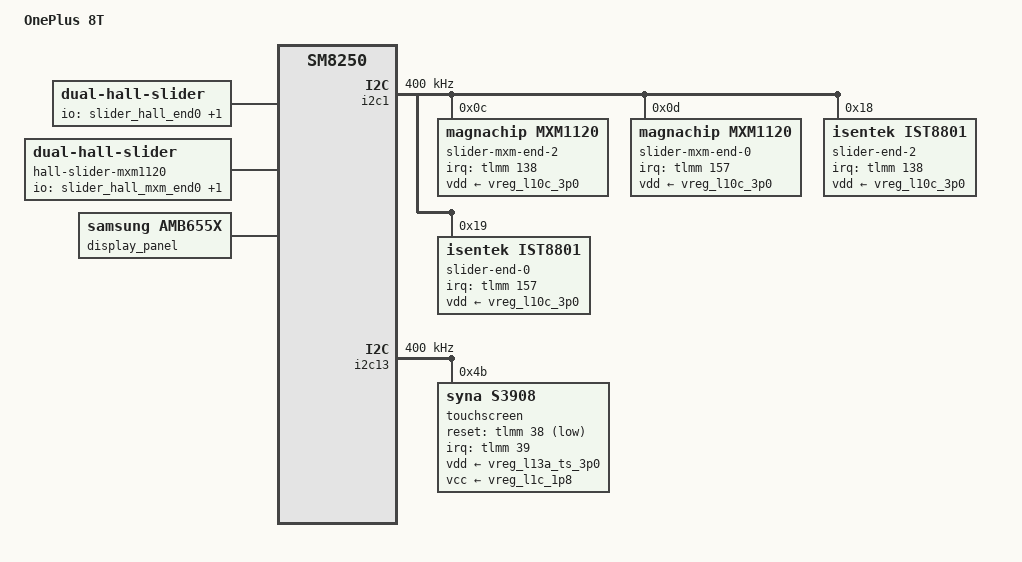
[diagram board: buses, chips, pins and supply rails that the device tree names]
// SPDX-License-Identifier: GPL-2.0 OR BSD-3-Clause
/*
 * Copyright (c) 2024, Caleb Connolly <caleb.connolly@linaro.org>
 */

#include "sm8250-oneplus-common.dtsi"
#include <dt-bindings/input/input.h>

/ {
	model = "OnePlus 8T";
	compatible = "oneplus,kebab", "qcom,sm8250";

	/* Alternative stock BOMs: each input depends only on its own Hall pair. */
	hall-slider {
		compatible = "dual-hall-slider";
		io-channels = <&slider_hall_end0>, <&slider_hall_end2>;
		io-channel-names = "end-0", "end-2";
		pinctrl-names = "default";
		pinctrl-0 = <&slider_hall_end0_default>, <&slider_hall_end2_default>;
		linux,axis = <ABS_MISC>;
		position-threshold = <30>;
		hysteresis = <8>;
		interference-threshold = <40>;
		debounce-interval = <100>;
		poll-interval = <100>;
	};

	hall-slider-mxm1120 {
		compatible = "dual-hall-slider";
		io-channels = <&slider_hall_mxm_end0>, <&slider_hall_mxm_end2>;
		io-channel-names = "end-0", "end-2";
		pinctrl-names = "default";
		pinctrl-0 = <&slider_hall_end0_default>, <&slider_hall_end2_default>;
		linux,axis = <ABS_MISC>;
		position-threshold = <30>;
		hysteresis = <8>;
		interference-threshold = <40>;
		debounce-interval = <100>;
		poll-interval = <100>;
	};
};

&display_panel {
	compatible = "samsung,amb655x";
	status = "okay";
};

/* Keep external DP out of the display pipeline for the internal-panel test. */
&mdss_dp {
	status = "disabled";
};

&i2c1 {
	clock-frequency = <400000>;
	status = "okay";

	/* Both BOMs are firmware-described; each sensor verifies its own chip ID. */
	slider_hall_mxm_end2: magnetometer@c {
		compatible = "magnachip,mxm1120";
		reg = <0x0c>;
		#io-channel-cells = <0>;
		label = "slider-mxm-end-2";
		vdd-supply = <&vreg_l10c_3p0>;
		interrupts-extended = <&tlmm 138 IRQ_TYPE_LEVEL_LOW>;
	};

	slider_hall_mxm_end0: magnetometer@d {
		compatible = "magnachip,mxm1120";
		reg = <0x0d>;
		#io-channel-cells = <0>;
		label = "slider-mxm-end-0";
		vdd-supply = <&vreg_l10c_3p0>;
		interrupts-extended = <&tlmm 157 IRQ_TYPE_LEVEL_LOW>;
	};

	slider_hall_end2: magnetometer@18 {
		compatible = "isentek,ist8801";
		reg = <0x18>;
		#io-channel-cells = <0>;
		label = "slider-end-2";
		vdd-supply = <&vreg_l10c_3p0>;
		interrupts-extended = <&tlmm 138 IRQ_TYPE_LEVEL_LOW>;
	};

	slider_hall_end0: magnetometer@19 {
		compatible = "isentek,ist8801";
		reg = <0x19>;
		#io-channel-cells = <0>;
		label = "slider-end-0";
		vdd-supply = <&vreg_l10c_3p0>;
		interrupts-extended = <&tlmm 157 IRQ_TYPE_LEVEL_LOW>;
	};
};

&i2c13 {
	clock-frequency = <400000>;
	status = "okay";

	touchscreen@4b {
		compatible = "syna,s3908";
		reg = <0x4B>;

		pinctrl-0 = <&touch_irq_active &touch_rst_active>;
		pinctrl-names = "default";

		interrupts-extended = <&tlmm 39 0x2008>;

		reset-gpios = <&tlmm 38 GPIO_ACTIVE_LOW>;

		vdd-supply = <&vreg_l13a_ts_3p0>;
		vcc-supply = <&vreg_l1c_1p8>;
	};
};

&tlmm {
	slider_hall_end0_default: slider-hall-end0-default-state {
		pins = "gpio157";
		function = "gpio";
		drive-strength = <2>;
		bias-pull-up;
		input-enable;
	};

	slider_hall_end2_default: slider-hall-end2-default-state {
		pins = "gpio138";
		function = "gpio";
		drive-strength = <2>;
		bias-pull-up;
		input-enable;
	};
};

&venus {
	firmware-name = "qcom/sm8250/OnePlus/kebab/venus.mbn";
};
